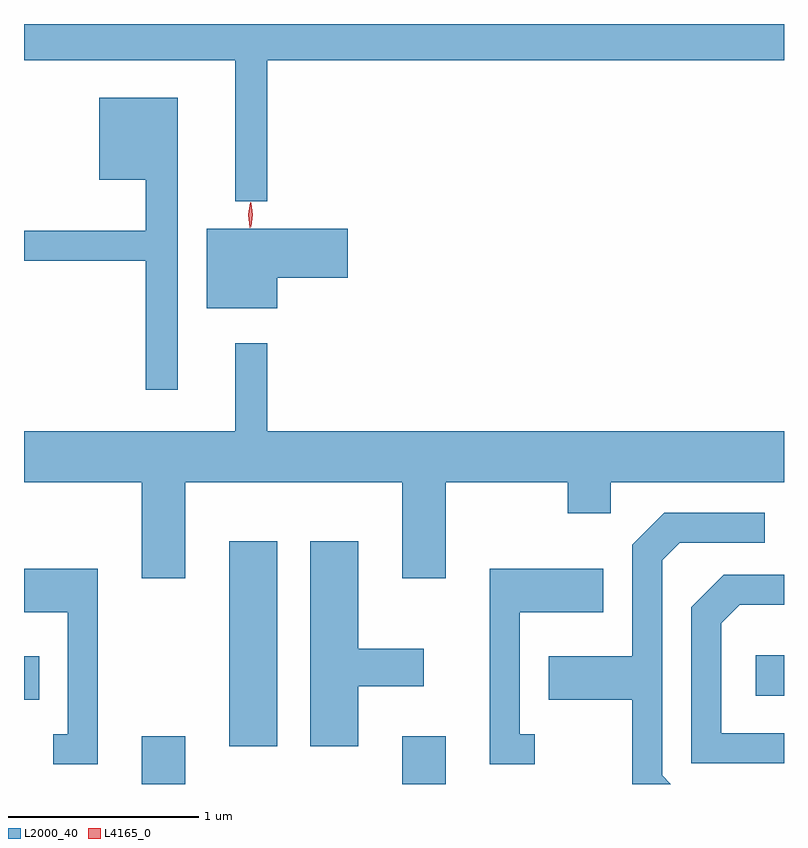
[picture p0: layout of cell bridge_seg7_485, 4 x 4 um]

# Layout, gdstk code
import gdstk
lib = gdstk.Library(unit=1e-6, precision=1e-09)
def R(c, l, rs):  # rectangles x0, y0, x1, y1
    for r in rs: c.add(gdstk.rectangle(r[:2], r[2:], *l))
def P(c, l, *ps):  # polygons
    for p in ps: c.add(gdstk.Polygon(p, *l))
L2000_40 = (2000, 40)
L4165_0 = (4165, 0)

bridge_seg7_485 = lib.new_cell('bridge_seg7_485')
R(bridge_seg7_485, L2000_40, [(1280.751,1723.827,1280.979,1724.079), (1282.121,1723.827,1282.349,1724.079), (1281.211,1724.026,1281.464,1725.104), (1280.13,1724.271,1280.209,1724.499), (1283.981,1724.291,1284.13,1724.504)])
P(bridge_seg7_485, L2000_40, [(1281.409,1727.636),(1284.13,1727.636),(1284.13,1727.827),(1280.13,1727.827),(1280.13,1727.636),(1281.241,1727.636),(1281.241,1726.893),(1281.409,1726.893)],
  [(1280.939,1727.439),(1280.526,1727.439),(1280.526,1727.006),(1280.771,1727.006),(1280.771,1726.739),(1280.13,1726.739),(1280.13,1726.581),(1280.771,1726.581),(1280.771,1725.903),(1280.939,1725.903)],
  [(1281.464,1726.491),(1281.834,1726.491),(1281.834,1726.749),(1281.091,1726.749),(1281.091,1726.331),(1281.464,1726.331)],
  [(1280.979,1725.416),(1282.121,1725.416),(1282.121,1724.911),(1282.349,1724.911),(1282.349,1725.416),(1282.991,1725.416),(1282.991,1725.251),(1283.219,1725.251),(1283.219,1725.416),(1284.13,1725.416),(1284.13,1725.684),(1281.409,1725.684),(1281.409,1726.148),(1281.241,1726.148),(1281.241,1725.684),(1280.13,1725.684),(1280.13,1725.416),(1280.751,1725.416),(1280.751,1724.911),(1280.979,1724.911)],
  [(1283.489,1723.872),(1283.489,1725.004),(1283.582,1725.096),(1284.028,1725.096),(1284.028,1725.254),(1283.499,1725.254),(1283.331,1725.087),(1283.331,1724.499),(1282.891,1724.499),(1282.891,1724.271),(1283.331,1724.271),(1283.331,1723.827),(1283.534,1723.827)],
  [(1281.889,1724.341),(1282.234,1724.341),(1282.234,1724.539),(1281.889,1724.539),(1281.889,1725.104),(1281.636,1725.104),(1281.636,1724.026),(1281.889,1724.026)],
  [(1282.818,1724.089),(1282.739,1724.089),(1282.739,1724.731),(1283.179,1724.731),(1283.179,1724.959),(1282.581,1724.959),(1282.581,1723.931),(1282.818,1723.931)],
  [(1280.519,1724.959),(1280.13,1724.959),(1280.13,1724.731),(1280.361,1724.731),(1280.361,1724.089),(1280.283,1724.089),(1280.283,1723.931),(1280.519,1723.931)],
  [(1284.13,1724.094),(1283.799,1724.094),(1283.799,1724.674),(1283.897,1724.771),(1284.13,1724.771),(1284.13,1724.929),(1283.814,1724.929),(1283.641,1724.757),(1283.641,1723.936),(1284.13,1723.936)])
P(bridge_seg7_485, L4165_0, [(1281.319,1726.754),(1281.311,1726.822),(1281.321,1726.89),(1281.321,1726.89),(1281.322,1726.89),(1281.33,1726.822),(1281.32,1726.754),(1281.32,1726.754)],
  [(1281.325,1726.76),(1281.325,1726.76),(1281.315,1726.823),(1281.324,1726.886),(1281.325,1726.887),(1281.325,1726.886),(1281.335,1726.823),(1281.326,1726.76)])

lib.write_gds('bridge_seg7_485.gds')
